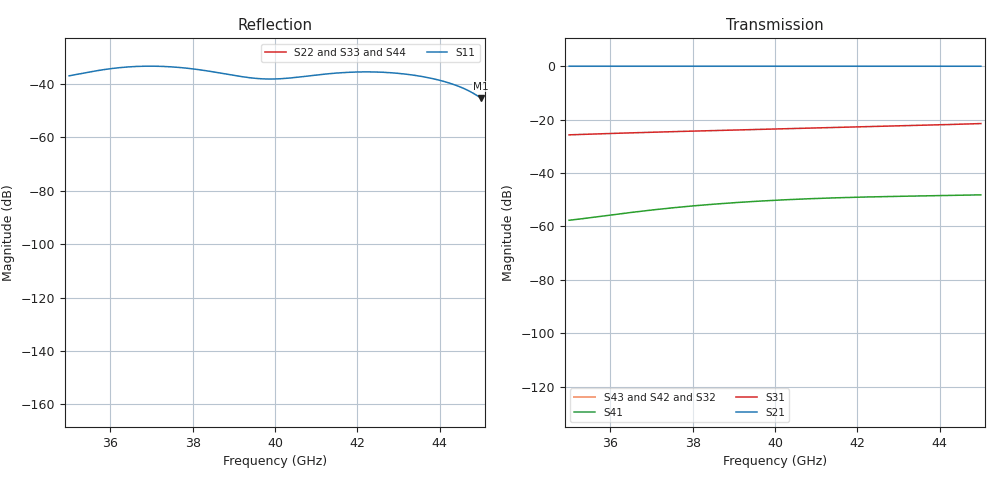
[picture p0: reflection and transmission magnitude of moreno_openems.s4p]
! Moreno cross-guide coupler, openEMS FDTD
! only column 1 (port 1 excited) and, by reciprocity, row 1 are simulated; other entries are zero
! S-parameters are normalised to each port's TE10 wave impedance (generalised
! S-matrix); 'R 50' below is only the placeholder the format requires.
! Reference planes: edges of the common a x a square.
# GHz S MA R 50
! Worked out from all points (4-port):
!   201 points, 35 GHz to 45 GHz, reference 50 ohm
!   strongest paths, dB at 35 GHz, 37.5 GHz, 40 GHz, 42.5 GHz, 45 GHz:
!     S21: 0.0, 0.0, 0.0, 0.0, 0.0
!     S31: -25.7, -24.5, -23.5, -22.6, -21.5
!     S41: -57.7, -53.1, -50.2, -48.9, -48.2
!     S43: -, -, -, -, -
!     S42: -, -, -, -, -
!     S32: -, -, -, -, -
!   lowest |S11| = -45.3 dB at 45 GHz (marker M1), VSWR 1.01, Z = 49.5 + j0.162 ohm
!   |S11| at or under -10 dB: start of sweep to end of sweep
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35  0.01424 -135.3  0.9978 -161.5  0.05173 108.5  0.001302 114.7
    0.9978 -161.5  0 0.0  0 0.0  0 0.0
    0.05173 108.5  0 0.0  0 0.0  0 0.0
    0.001302 114.7  0 0.0  0 0.0  0 0.0
36.8  0.02151 -85.4  0.9987 179.9  0.05725 89.9  0.001939 102.9
      0.9987 179.9  0 0.0  0 0.0  0 0.0
      0.05725 89.9  0 0.0  0 0.0  0 0.0
      0.001939 102.9  0 0.0  0 0.0  0 0.0
38.55  0.01665 -46.7  0.998 162.6  0.06232 72.6  0.002615 81.7
       0.998 162.6  0 0.0  0 0.0  0 0.0
       0.06232 72.6  0 0.0  0 0.0  0 0.0
       0.002615 81.7  0 0.0  0 0.0  0 0.0
39.9  0.01239 10.8  0.9977 149.6  0.06624 59.7  0.00305 63.9
      0.9977 149.6  0 0.0  0 0.0  0 0.0
      0.06624 59.7  0 0.0  0 0.0  0 0.0
      0.00305 63.9  0 0.0  0 0.0  0 0.0
42.7  0.01647 96.0  0.9975 123.4  0.07504 33.4  0.003613 28.2
      0.9975 123.4  0 0.0  0 0.0  0 0.0
      0.07504 33.4  0 0.0  0 0.0  0 0.0
      0.003613 28.2  0 0.0  0 0.0  0 0.0
44.05  0.01146 125.3  0.9965 111.0  0.07999 21.0  0.003767 12.0
       0.9965 111.0  0 0.0  0 0.0  0 0.0
       0.07999 21.0  0 0.0  0 0.0  0 0.0
       0.003767 12.0  0 0.0  0 0.0  0 0.0
45  0.005447 162.5  0.9961 102.3  0.08407 12.3  0.003891 -0.5
    0.9961 102.3  0 0.0  0 0.0  0 0.0
    0.08407 12.3  0 0.0  0 0.0  0 0.0
    0.003891 -0.5  0 0.0  0 0.0  0 0.0
